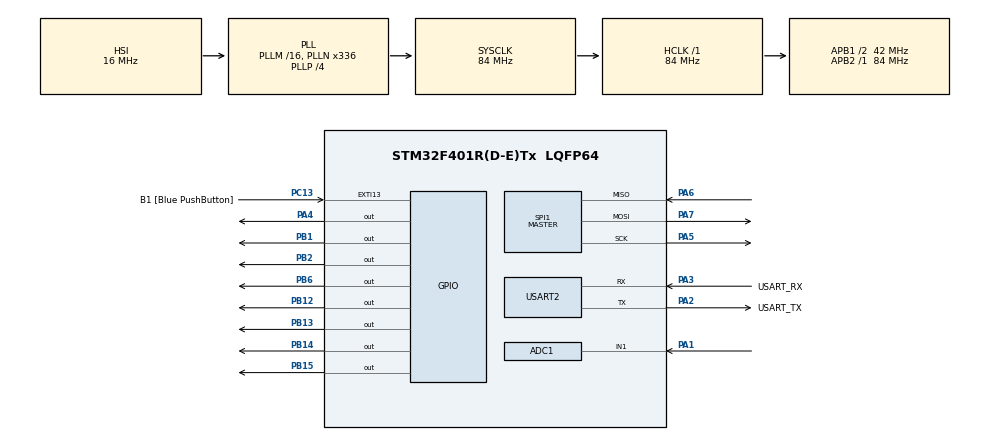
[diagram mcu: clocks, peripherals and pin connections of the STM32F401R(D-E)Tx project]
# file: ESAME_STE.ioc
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ADC1.Channel-0\#ChannelRegularConversion=ADC_CHANNEL_1
ADC1.ExternalTrigConv=ADC_EXTERNALTRIGCONV_T2_TRGO
ADC1.NbrOfConversionFlag=1
ADC1.Rank-0\#ChannelRegularConversion=1
ADC1.SamplingTime-0\#ChannelRegularConversion=ADC_SAMPLETIME_480CYCLES
ADC1.master=1
Dma.Request0=SPI1_TX
Dma.SPI1_TX.0.Direction=DMA_MEMORY_TO_PERIPH
Dma.SPI1_TX.0.FIFOMode=DMA_FIFOMODE_DISABLE
Dma.SPI1_TX.0.Instance=DMA2_Stream3
Dma.SPI1_TX.0.MemDataAlignment=DMA_MDATAALIGN_BYTE
Dma.SPI1_TX.0.MemInc=DMA_MINC_ENABLE
Dma.SPI1_TX.0.Mode=DMA_NORMAL
Dma.SPI1_TX.0.PeriphDataAlignment=DMA_PDATAALIGN_BYTE
Dma.SPI1_TX.0.PeriphInc=DMA_PINC_DISABLE
Dma.SPI1_TX.0.Priority=DMA_PRIORITY_LOW
Mcu.Family=STM32F4
Mcu.Name=STM32F401R(D-E)Tx
Mcu.Package=LQFP64
NVIC.ADC_IRQn=true\:0\:0\:false\:false\:true\:true\:true\:true
NVIC.DMA2_Stream3_IRQn=true\:0\:0\:false\:false\:true\:false\:true\:true
NVIC.PriorityGroup=NVIC_PRIORITYGROUP_4
NVIC.SPI1_IRQn=true\:0\:0\:false\:false\:true\:true\:true\:true
NVIC.TIM3_IRQn=true\:2\:0\:true\:false\:true\:true\:true\:true
NVIC.TIM4_IRQn=true\:1\:0\:true\:false\:true\:true\:true\:true
PA1.Signal=ADCx_IN1
PA13.GPIO_Label=TMS
PA13.Mode=Trace_Asynchronous_SW
PA13.Signal=SYS_JTMS-SWDIO
PA14.GPIO_Label=TCK
PA14.Mode=Trace_Asynchronous_SW
PA14.Signal=SYS_JTCK-SWCLK
PA2.GPIO_Label=USART_TX
PA2.GPIO_Mode=GPIO_MODE_AF_PP
PA2.GPIO_PuPd=GPIO_NOPULL
PA2.GPIO_Speed=GPIO_SPEED_FREQ_LOW
PA2.Mode=Asynchronous
PA2.Signal=USART2_TX
PA3.GPIO_Label=USART_RX
PA3.GPIO_Mode=GPIO_MODE_AF_PP
PA3.GPIO_PuPd=GPIO_NOPULL
PA3.GPIO_Speed=GPIO_SPEED_FREQ_LOW
PA3.Mode=Asynchronous
PA3.Signal=USART2_RX
PA4.Signal=GPIO_Output
PA5.Mode=Full_Duplex_Master
PA5.Signal=SPI1_SCK
PA6.Mode=Full_Duplex_Master
PA6.Signal=SPI1_MISO
PA7.Mode=Full_Duplex_Master
PA7.Signal=SPI1_MOSI
PB1.Signal=GPIO_Output
PB12.Signal=GPIO_Output
PB13.Signal=GPIO_Output
PB14.Signal=GPIO_Output
PB15.Signal=GPIO_Output
PB2.Signal=GPIO_Output
PB3.GPIO_Label=SWO
PB3.Mode=Trace_Asynchronous_SW
PB3.Signal=SYS_JTDO-SWO
PB6.Signal=GPIO_Output
PC13-ANTI_TAMP.GPIO_Label=B1 [Blue PushButton]
PC13-ANTI_TAMP.GPIO_ModeDefaultEXTI=GPIO_MODE_IT_FALLING
PC13-ANTI_TAMP.GPIO_PuPd=GPIO_NOPULL
PC13-ANTI_TAMP.Signal=GPXTI13
PC14-OSC32_IN.Mode=LSE-External-Oscillator
PC14-OSC32_IN.Signal=RCC_OSC32_IN
PC15-OSC32_OUT.Mode=LSE-External-Oscillator
PC15-OSC32_OUT.Signal=RCC_OSC32_OUT
PH0\ -\ OSC_IN.Mode=HSE-External-Clock-Source
PH0\ -\ OSC_IN.Signal=RCC_OSC_IN
PH1\ -\ OSC_OUT.Mode=HSE-External-Clock-Source
PH1\ -\ OSC_OUT.Signal=RCC_OSC_OUT
ProjectManager.HeapSize=0x200
ProjectManager.StackSize=0x400
ProjectManager.TargetToolchain=STM32CubeIDE
RCC.48MHZClocksFreq_Value=48000000
RCC.AHBFreq_Value=84000000
RCC.APB1CLKDivider=RCC_HCLK_DIV2
RCC.APB1Freq_Value=42000000
RCC.APB1TimFreq_Value=84000000
RCC.APB2Freq_Value=84000000
RCC.APB2TimFreq_Value=84000000
RCC.CortexFreq_Value=84000000
RCC.HCLKFreq_Value=84000000
RCC.HSE_VALUE=8000000
RCC.HSI_VALUE=16000000
RCC.PLLN=336
RCC.PLLP=RCC_PLLP_DIV4
RCC.PLLQ=7
RCC.SYSCLKFreq_VALUE=84000000
RCC.SYSCLKSource=RCC_SYSCLKSOURCE_PLLCLK
RCC.VCOOutputFreq_Value=336000000
SH.ADCx_IN1.0=ADC1_IN1,IN1
SPI1.Direction=SPI_DIRECTION_2LINES
SPI1.Mode=SPI_MODE_MASTER
SPI1.VirtualType=VM_MASTER
TIM2.Period=839999
TIM2.Prescaler=99
TIM2.TIM_MasterOutputTrigger=TIM_TRGO_UPDATE
TIM3.Period=3359
TIM3.Prescaler=99
TIM4.Period=4199
TIM4.Prescaler=9999
USART2.VirtualMode=VM_ASYNC
VP_TIM2_VS_ClockSourceINT.Mode=Internal
VP_TIM3_VS_ClockSourceINT.Mode=Internal
VP_TIM4_VS_ClockSourceINT.Mode=Internal
board=NUCLEO-F401RE

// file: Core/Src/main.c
/* USER CODE BEGIN Header */
/**
  ******************************************************************************
  * @file           : main.c
  * @brief          : Main program body
  ******************************************************************************
  * @attention
  *
  * Copyright (c) 2026 STMicroelectronics.
  * All rights reserved.
  *
  * This software is licensed under terms that can be found in the LICENSE file
  * in the root directory of this software component.
  * If no LICENSE file comes with this software, it is provided AS-IS.
  *
  ******************************************************************************
  */
/* USER CODE END Header */
#include "main.h"

/* USER CODE BEGIN Includes */
#include "PMDB16_LCD.h"
#include "stdio.h"
#include "string.h"

/* USER CODE END Includes */

/* USER CODE BEGIN PTD */
// Stati Tx IR
typedef enum {
    NO_BLINK  = 0,
    ONE_BLINK = 1,
    TWO_BLINK  = 2
} BlinkState_t;
/* USER CODE END PTD */

/* USER CODE BEGIN PD */
#define NUM_COLS 5
#define NUM_LETTERS 2

#define PORT GPIOB
#define PIN GPIO_PIN_6
/* USER CODE END PD */

ADC_HandleTypeDef hadc1;

SPI_HandleTypeDef hspi1;
DMA_HandleTypeDef hdma_spi1_tx;

TIM_HandleTypeDef htim2;
TIM_HandleTypeDef htim3;
TIM_HandleTypeDef htim4;

UART_HandleTypeDef huart2;

/* USER CODE BEGIN PV */
// Potenziometro
uint32_t adc_value=0;
volatile float v_pot=0.0f;
volatile uint32_t old=0;
char lcd_buffer[16];
int bar_value=0;

volatile uint8_t changed=0;

// LED Matrix
// Definizione Lettere
static const uint8_t MATRIX_COL[NUM_LETTERS][NUM_COLS] = {{ 16,  8,  4,  2,  1 },{ 16,  8,  4,  2,  1 }};
static const uint8_t MATRIX_ROW[NUM_LETTERS][NUM_COLS] = {{255,255,255,255,255},{0,0,0,0,0}}; // Acceso, Spento
// Contatori
static int col_cnt = 0; // Colonna a cui siamo arrivati = 0:NUM_COLS-1
static int letter_idx=0; //  Lettera (0="O", 1="K") = 0:NUM_LETTERS-1

static int blink=0;

BlinkState_t Blink_State=NO_BLINK;

uint32_t old_1blink=0;
uint32_t old_2blink=0;

volatile int zone=1;
volatile int old_zone=1;
// zone = 0 -> sotto 0.5V
// zone = 1 -> al centro
// zone = 2 -> sopra 2.8V

/* USER CODE END PV */

void SystemClock_Config(void);
static void MX_GPIO_Init(void);
static void MX_DMA_Init(void);
static void MX_USART2_UART_Init(void);
static void MX_ADC1_Init(void);
static void MX_TIM2_Init(void);
static void MX_SPI1_Init(void);
static void MX_TIM3_Init(void);
static void MX_TIM4_Init(void);

/* USER CODE BEGIN 0 */

static inline void spi_send(uint8_t col, uint8_t row){
	static uint8_t buffer[2]; // 2 byte
	// DAISY RING
	buffer[0]=row; // prima la riga
	buffer[1]=col; // poi la colonna

	// Ogni 4 ms trasmettiamo (refreshamo)
	HAL_SPI_Transmit_DMA(&hspi1, buffer, 2);
}

void HAL_SPI_TxCpltCallback(SPI_HandleTypeDef *hspi){
	if(hspi->Instance==SPI1){
		// Una volta terminata la comunicazione dei 2 byte
		// diamo un impulso su RCLK per far scattare il latch
		// dei due shift register
		HAL_GPIO_WritePin(PORT, PIN, GPIO_PIN_SET);
		HAL_GPIO_WritePin(PORT, PIN, GPIO_PIN_RESET);
	}
}

void HAL_ADC_ConvCpltCallback(ADC_HandleTypeDef *hadc)
{
    adc_value = HAL_ADC_GetValue(hadc);
    v_pot = ((float)adc_value * 3.3f) / 4095.0f;

    if(adc_value > old + 5 || adc_value + 5 < old){ // Soglia anti-rumore solo sui 3 LSB (5 = 1000)
    	changed=1;
    	old=adc_value;
    }

    if(v_pot<0.5f){
    	zone=0;
    	if(zone!=old_zone){
    		__HAL_TIM_SET_COUNTER(&htim4, 0); // Azzera Contatore Timer 2Hz
			letter_idx=0; // Acceso per 0.5s
			Blink_State=ONE_BLINK;
    	}
    }else if(v_pot>2.8f){
    	zone=2;
    	if(zone!=old_zone){
    		__HAL_TIM_SET_COUNTER(&htim4, 0); // Azzera Contatore Timer 2Hz
			letter_idx=0; // Acceso per 0.5s
			Blink_State=TWO_BLINK;
    	}
    }else{
    	zone=1;
    }

    old_zone=zone;

}

void HAL_TIM_PeriodElapsedCallback(TIM_HandleTypeDef *htim)
{
	// CALLBACK CAMBIO COLONNA (4ms)
    if (htim->Instance == TIM3){
        // refresh colonna (come hai già scritto)
        spi_send(MATRIX_COL[letter_idx][col_cnt], MATRIX_ROW[letter_idx][col_cnt]);
        col_cnt++;
        if (col_cnt == NUM_COLS){
            col_cnt = 0;
        }
    }
    // CALLBACK STATO
    else if (htim->Instance == TIM4){
    	switch (Blink_State){
    		case NO_BLINK:
    			letter_idx=1; // Spento
    			break;
    		case ONE_BLINK:
    			Blink_State=NO_BLINK;
    			letter_idx=1; // Spegni dopo che è stato acceso per 0.5s
    			break;
    		case TWO_BLINK:
    			blink++;
    			if(blink==1){
    				letter_idx=1; // Spento per 0.5s
    			}else if (blink==2){
    				letter_idx=0; // Acceso per 0.5s per la seconda volta
    			}else if(blink==3){
    				letter_idx=1; // Spento dopo i due blink
    				blink=0;
    				Blink_State=NO_BLINK;
    			}
    			break;
    	}

    }
}

/* USER CODE END 0 */

int main(void)
{

  /* MCU Configuration--------------------------------------------------------*/

  /* Reset of all peripherals, Initializes the Flash interface and the Systick. */
  HAL_Init();

  /* Configure the system clock */
  SystemClock_Config();

  /* Initialize all configured peripherals */
  MX_GPIO_Init();
  MX_DMA_Init();
  MX_USART2_UART_Init();
  MX_ADC1_Init();
  MX_TIM2_Init();
  MX_SPI1_Init();
  MX_TIM3_Init();
  MX_TIM4_Init();
  /* USER CODE BEGIN 2 */
  HAL_TIM_Base_Start(&htim2); // Timer 2 (Trigger ADC)
  HAL_ADC_Start_IT(&hadc1);   // ADC (Interrupt Mode)
  lcd_initialize();           // LCD
  lcd_backlight_ON();

  HAL_TIM_Base_Start_IT(&htim3);
  HAL_TIM_Base_Start_IT(&htim4);

  /* USER CODE END 2 */

  /* Infinite loop */
  while (1)
  {

    /* USER CODE BEGIN 3 */
	  if(changed){
		  changed=0;

		  sprintf(lcd_buffer, "Value: %.2f V", v_pot);

		  bar_value = (int)((v_pot / 3.3f) * 80.0f);   // 0-80

		  lcd_clear();
		  lcd_println(lcd_buffer, 0);   // testo sulla riga superiore
		  lcd_drawBar(bar_value);   // barra sulla riga inferiore

	  }
  }
  /* USER CODE END 3 */
}

void SystemClock_Config(void)
{
  RCC_OscInitTypeDef RCC_OscInitStruct = {0};
  RCC_ClkInitTypeDef RCC_ClkInitStruct = {0};

  /** Configure the main internal regulator output voltage
  */
  __HAL_RCC_PWR_CLK_ENABLE();
  __HAL_PWR_VOLTAGESCALING_CONFIG(PWR_REGULATOR_VOLTAGE_SCALE2);

  /** Initializes the RCC Oscillators according to the specified parameters
  * in the RCC_OscInitTypeDef structure.
  */
  RCC_OscInitStruct.OscillatorType = RCC_OSCILLATORTYPE_HSI;
  RCC_OscInitStruct.HSIState = RCC_HSI_ON;
  RCC_OscInitStruct.HSICalibrationValue = RCC_HSICALIBRATION_DEFAULT;
  RCC_OscInitStruct.PLL.PLLState = RCC_PLL_ON;
  RCC_OscInitStruct.PLL.PLLSource = RCC_PLLSOURCE_HSI;
  RCC_OscInitStruct.PLL.PLLM = 16;
  RCC_OscInitStruct.PLL.PLLN = 336;
  RCC_OscInitStruct.PLL.PLLP = RCC_PLLP_DIV4;
  RCC_OscInitStruct.PLL.PLLQ = 7;
  if (HAL_RCC_OscConfig(&RCC_OscInitStruct) != HAL_OK)
  {
    Error_Handler();
  }

  /** Initializes the CPU, AHB and APB buses clocks
  */
  RCC_ClkInitStruct.ClockType = RCC_CLOCKTYPE_HCLK|RCC_CLOCKTYPE_SYSCLK
                              |RCC_CLOCKTYPE_PCLK1|RCC_CLOCKTYPE_PCLK2;
  RCC_ClkInitStruct.SYSCLKSource = RCC_SYSCLKSOURCE_PLLCLK;
  RCC_ClkInitStruct.AHBCLKDivider = RCC_SYSCLK_DIV1;
  RCC_ClkInitStruct.APB1CLKDivider = RCC_HCLK_DIV2;
  RCC_ClkInitStruct.APB2CLKDivider = RCC_HCLK_DIV1;

  if (HAL_RCC_ClockConfig(&RCC_ClkInitStruct, FLASH_LATENCY_2) != HAL_OK)
  {
    Error_Handler();
  }
}

static void MX_ADC1_Init(void)
{

  ADC_ChannelConfTypeDef sConfig = {0};

  /** Configure the global features of the ADC (Clock, Resolution, Data Alignment and number of conversion)
  */
  hadc1.Instance = ADC1;
  hadc1.Init.ClockPrescaler = ADC_CLOCK_SYNC_PCLK_DIV4;
  hadc1.Init.Resolution = ADC_RESOLUTION_12B;
  hadc1.Init.ScanConvMode = DISABLE;
  hadc1.Init.ContinuousConvMode = DISABLE;
  hadc1.Init.DiscontinuousConvMode = DISABLE;
  hadc1.Init.ExternalTrigConvEdge = ADC_EXTERNALTRIGCONVEDGE_RISING;
  hadc1.Init.ExternalTrigConv = ADC_EXTERNALTRIGCONV_T2_TRGO;
  hadc1.Init.DataAlign = ADC_DATAALIGN_RIGHT;
  hadc1.Init.NbrOfConversion = 1;
  hadc1.Init.DMAContinuousRequests = DISABLE;
  hadc1.Init.EOCSelection = ADC_EOC_SINGLE_CONV;
  if (HAL_ADC_Init(&hadc1) != HAL_OK)
  {
    Error_Handler();
  }

  /** Configure for the selected ADC regular channel its corresponding rank in the sequencer and its sample time.
  */
  sConfig.Channel = ADC_CHANNEL_1;
  sConfig.Rank = 1;
  sConfig.SamplingTime = ADC_SAMPLETIME_480CYCLES;
  if (HAL_ADC_ConfigChannel(&hadc1, &sConfig) != HAL_OK)
  {
    Error_Handler();
  }

}

static void MX_SPI1_Init(void)
{

  /* SPI1 parameter configuration*/
  hspi1.Instance = SPI1;
  hspi1.Init.Mode = SPI_MODE_MASTER;
  hspi1.Init.Direction = SPI_DIRECTION_2LINES;
  hspi1.Init.DataSize = SPI_DATASIZE_8BIT;
  hspi1.Init.CLKPolarity = SPI_POLARITY_LOW;
  hspi1.Init.CLKPhase = SPI_PHASE_1EDGE;
  hspi1.Init.NSS = SPI_NSS_SOFT;
  hspi1.Init.BaudRatePrescaler = SPI_BAUDRATEPRESCALER_2;
  hspi1.Init.FirstBit = SPI_FIRSTBIT_MSB;
  hspi1.Init.TIMode = SPI_TIMODE_DISABLE;
  hspi1.Init.CRCCalculation = SPI_CRCCALCULATION_DISABLE;
  hspi1.Init.CRCPolynomial = 10;
  if (HAL_SPI_Init(&hspi1) != HAL_OK)
  {
    Error_Handler();
  }

}

static void MX_TIM2_Init(void)
{

  TIM_ClockConfigTypeDef sClockSourceConfig = {0};
  TIM_MasterConfigTypeDef sMasterConfig = {0};

  htim2.Instance = TIM2;
  htim2.Init.Prescaler = 99;
  htim2.Init.CounterMode = TIM_COUNTERMODE_UP;
  htim2.Init.Period = 839999;
  htim2.Init.ClockDivision = TIM_CLOCKDIVISION_DIV1;
  htim2.Init.AutoReloadPreload = TIM_AUTORELOAD_PRELOAD_DISABLE;
  if (HAL_TIM_Base_Init(&htim2) != HAL_OK)
  {
    Error_Handler();
  }
  sClockSourceConfig.ClockSource = TIM_CLOCKSOURCE_INTERNAL;
  if (HAL_TIM_ConfigClockSource(&htim2, &sClockSourceConfig) != HAL_OK)
  {
    Error_Handler();
  }
  sMasterConfig.MasterOutputTrigger = TIM_TRGO_UPDATE;
  sMasterConfig.MasterSlaveMode = TIM_MASTERSLAVEMODE_DISABLE;
  if (HAL_TIMEx_MasterConfigSynchronization(&htim2, &sMasterConfig) != HAL_OK)
  {
    Error_Handler();
  }

}

static void MX_TIM3_Init(void)
{

  TIM_ClockConfigTypeDef sClockSourceConfig = {0};
  TIM_MasterConfigTypeDef sMasterConfig = {0};

  htim3.Instance = TIM3;
  htim3.Init.Prescaler = 99;
  htim3.Init.CounterMode = TIM_COUNTERMODE_UP;
  htim3.Init.Period = 3359;
  htim3.Init.ClockDivision = TIM_CLOCKDIVISION_DIV1;
  htim3.Init.AutoReloadPreload = TIM_AUTORELOAD_PRELOAD_DISABLE;
  if (HAL_TIM_Base_Init(&htim3) != HAL_OK)
  {
    Error_Handler();
  }
  sClockSourceConfig.ClockSource = TIM_CLOCKSOURCE_INTERNAL;
  if (HAL_TIM_ConfigClockSource(&htim3, &sClockSourceConfig) != HAL_OK)
  {
    Error_Handler();
  }
  sMasterConfig.MasterOutputTrigger = TIM_TRGO_RESET;
  sMasterConfig.MasterSlaveMode = TIM_MASTERSLAVEMODE_DISABLE;
  if (HAL_TIMEx_MasterConfigSynchronization(&htim3, &sMasterConfig) != HAL_OK)
  {
    Error_Handler();
  }

}

static void MX_TIM4_Init(void)
{

  TIM_ClockConfigTypeDef sClockSourceConfig = {0};
  TIM_MasterConfigTypeDef sMasterConfig = {0};

  htim4.Instance = TIM4;
  htim4.Init.Prescaler = 9999;
  htim4.Init.CounterMode = TIM_COUNTERMODE_UP;
  htim4.Init.Period = 4199;
  htim4.Init.ClockDivision = TIM_CLOCKDIVISION_DIV1;
  htim4.Init.AutoReloadPreload = TIM_AUTORELOAD_PRELOAD_DISABLE;
  if (HAL_TIM_Base_Init(&htim4) != HAL_OK)
  {
    Error_Handler();
  }
  sClockSourceConfig.ClockSource = TIM_CLOCKSOURCE_INTERNAL;
  if (HAL_TIM_ConfigClockSource(&htim4, &sClockSourceConfig) != HAL_OK)
  {
    Error_Handler();
  }
  sMasterConfig.MasterOutputTrigger = TIM_TRGO_RESET;
  sMasterConfig.MasterSlaveMode = TIM_MASTERSLAVEMODE_DISABLE;
  if (HAL_TIMEx_MasterConfigSynchronization(&htim4, &sMasterConfig) != HAL_OK)
  {
    Error_Handler();
  }

}

static void MX_USART2_UART_Init(void)
{

  huart2.Instance = USART2;
  huart2.Init.BaudRate = 115200;
  huart2.Init.WordLength = UART_WORDLENGTH_8B;
  huart2.Init.StopBits = UART_STOPBITS_1;
  huart2.Init.Parity = UART_PARITY_NONE;
  huart2.Init.Mode = UART_MODE_TX_RX;
  huart2.Init.HwFlowCtl = UART_HWCONTROL_NONE;
  huart2.Init.OverSampling = UART_OVERSAMPLING_16;
  if (HAL_UART_Init(&huart2) != HAL_OK)
  {
    Error_Handler();
  }

}

static void MX_DMA_Init(void)
{

  /* DMA controller clock enable */
  __HAL_RCC_DMA2_CLK_ENABLE();

  /* DMA interrupt init */
  /* DMA2_Stream3_IRQn interrupt configuration */
  HAL_NVIC_SetPriority(DMA2_Stream3_IRQn, 0, 0);
  HAL_NVIC_EnableIRQ(DMA2_Stream3_IRQn);

}

static void MX_GPIO_Init(void)
{
  GPIO_InitTypeDef GPIO_InitStruct = {0};

  /* GPIO Ports Clock Enable */
  __HAL_RCC_GPIOC_CLK_ENABLE();
  __HAL_RCC_GPIOH_CLK_ENABLE();
  __HAL_RCC_GPIOA_CLK_ENABLE();
  __HAL_RCC_GPIOB_CLK_ENABLE();

  /*Configure GPIO pin Output Level */
  HAL_GPIO_WritePin(GPIOA, GPIO_PIN_4, GPIO_PIN_RESET);

  /*Configure GPIO pin Output Level */
  HAL_GPIO_WritePin(GPIOB, GPIO_PIN_1|GPIO_PIN_2|GPIO_PIN_12|GPIO_PIN_13
                          |GPIO_PIN_14|GPIO_PIN_15|GPIO_PIN_6, GPIO_PIN_RESET);

  /*Configure GPIO pin : B1_Pin */
  GPIO_InitStruct.Pin = B1_Pin;
  GPIO_InitStruct.Mode = GPIO_MODE_IT_FALLING;
  GPIO_InitStruct.Pull = GPIO_NOPULL;
  HAL_GPIO_Init(B1_GPIO_Port, &GPIO_InitStruct);

  /*Configure GPIO pin : PA4 */
  GPIO_InitStruct.Pin = GPIO_PIN_4;
  GPIO_InitStruct.Mode = GPIO_MODE_OUTPUT_PP;
  GPIO_InitStruct.Pull = GPIO_NOPULL;
  GPIO_InitStruct.Speed = GPIO_SPEED_FREQ_LOW;
  HAL_GPIO_Init(GPIOA, &GPIO_InitStruct);

  /*Configure GPIO pins : PB1 PB2 PB12 PB13
                           PB14 PB15 PB6 */
  GPIO_InitStruct.Pin = GPIO_PIN_1|GPIO_PIN_2|GPIO_PIN_12|GPIO_PIN_13
                          |GPIO_PIN_14|GPIO_PIN_15|GPIO_PIN_6;
  GPIO_InitStruct.Mode = GPIO_MODE_OUTPUT_PP;
  GPIO_InitStruct.Pull = GPIO_NOPULL;
  GPIO_InitStruct.Speed = GPIO_SPEED_FREQ_LOW;
  HAL_GPIO_Init(GPIOB, &GPIO_InitStruct);

}

void Error_Handler(void)
{
  __disable_irq();
  while (1)
  {
  }
}
